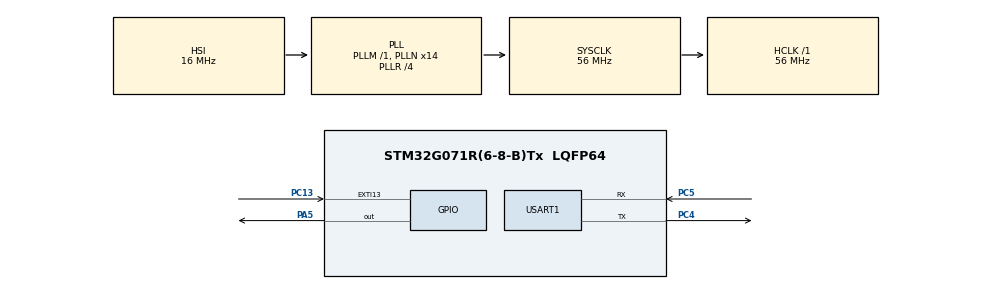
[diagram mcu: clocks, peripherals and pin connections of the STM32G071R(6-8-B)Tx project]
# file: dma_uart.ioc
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Dma.Request0=USART1_RX
Dma.Request1=USART1_TX
Dma.USART1_RX.0.Direction=DMA_PERIPH_TO_MEMORY
Dma.USART1_RX.0.EventEnable=DISABLE
Dma.USART1_RX.0.Instance=DMA1_Channel1
Dma.USART1_RX.0.MemDataAlignment=DMA_MDATAALIGN_BYTE
Dma.USART1_RX.0.MemInc=DMA_MINC_ENABLE
Dma.USART1_RX.0.Mode=DMA_NORMAL
Dma.USART1_RX.0.PeriphDataAlignment=DMA_PDATAALIGN_BYTE
Dma.USART1_RX.0.PeriphInc=DMA_PINC_DISABLE
Dma.USART1_RX.0.Polarity=HAL_DMAMUX_REQ_GEN_RISING
Dma.USART1_RX.0.Priority=DMA_PRIORITY_HIGH
Dma.USART1_RX.0.RequestNumber=1
Dma.USART1_RX.0.SignalID=NONE
Dma.USART1_RX.0.SyncEnable=DISABLE
Dma.USART1_RX.0.SyncPolarity=HAL_DMAMUX_SYNC_NO_EVENT
Dma.USART1_RX.0.SyncRequestNumber=1
Dma.USART1_RX.0.SyncSignalID=NONE
Dma.USART1_TX.1.Direction=DMA_MEMORY_TO_PERIPH
Dma.USART1_TX.1.EventEnable=DISABLE
Dma.USART1_TX.1.Instance=DMA1_Channel2
Dma.USART1_TX.1.MemDataAlignment=DMA_MDATAALIGN_BYTE
Dma.USART1_TX.1.MemInc=DMA_MINC_ENABLE
Dma.USART1_TX.1.Mode=DMA_NORMAL
Dma.USART1_TX.1.PeriphDataAlignment=DMA_PDATAALIGN_BYTE
Dma.USART1_TX.1.PeriphInc=DMA_PINC_DISABLE
Dma.USART1_TX.1.Polarity=HAL_DMAMUX_REQ_GEN_RISING
Dma.USART1_TX.1.Priority=DMA_PRIORITY_LOW
Dma.USART1_TX.1.RequestNumber=1
Dma.USART1_TX.1.SignalID=NONE
Dma.USART1_TX.1.SyncEnable=DISABLE
Dma.USART1_TX.1.SyncPolarity=HAL_DMAMUX_SYNC_NO_EVENT
Dma.USART1_TX.1.SyncRequestNumber=1
Dma.USART1_TX.1.SyncSignalID=NONE
Mcu.Family=STM32G0
Mcu.Name=STM32G071R(6-8-B)Tx
Mcu.Package=LQFP64
NVIC.DMA1_Channel1_IRQn=true\:0\:0\:false\:false\:true\:false\:true
NVIC.DMA1_Channel2_3_IRQn=true\:0\:0\:false\:false\:true\:false\:true
NVIC.EXTI4_15_IRQn=true\:1\:0\:true\:false\:true\:true\:true
NVIC.USART1_IRQn=true\:0\:0\:false\:false\:true\:true\:true
PA5.Signal=GPIO_Output
PC13.Signal=GPXTI13
PC4.Mode=Asynchronous
PC4.Signal=USART1_TX
PC5.Mode=Asynchronous
PC5.Signal=USART1_RX
ProjectManager.HeapSize=0x200
ProjectManager.StackSize=0x400
ProjectManager.TargetToolchain=MDK-ARM V5.27
RCC.ADCFreq_Value=56000000
RCC.AHBFreq_Value=56000000
RCC.CortexFreq_Value=56000000
RCC.EXTERNAL_CLOCK_VALUE=48000
RCC.HCLKFreq_Value=56000000
RCC.HSE_VALUE=8000000
RCC.HSI_VALUE=16000000
RCC.LSE_VALUE=32768
RCC.PLLN=14
RCC.PLLR=RCC_PLLR_DIV4
RCC.SYSCLKFreq_VALUE=56000000
RCC.SYSCLKSource=RCC_SYSCLKSOURCE_PLLCLK
RCC.VCOOutputFreq_Value=224000000
USART1.VirtualMode-Asynchronous=VM_ASYNC
VP_SYS_VS_DBSignals.Mode=DisableDeadBatterySignals
board=custom

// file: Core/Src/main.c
/* USER CODE BEGIN Header */
/**
  ******************************************************************************
  * @file           : main.c
  * @brief          : Main program body
  ******************************************************************************
  * @attention
  *
  * <h2><center>&copy; Copyright (c) 2021 STMicroelectronics.
  * All rights reserved.</center></h2>
  *
  * This software component is licensed by ST under BSD 3-Clause license,
  * the "License"; You may not use this file except in compliance with the
  * License. You may obtain a copy of the License at:
  *                        opensource.org/licenses/BSD-3-Clause
  *
  ******************************************************************************
  */
/* USER CODE END Header */
#include "main.h"
/*#define Transmitter_Board*/

/* USER CODE BEGIN PTD */
/*#define Transmitter_Board*/
/* USER CODE END PTD */

UART_HandleTypeDef huart1;
DMA_HandleTypeDef hdma_usart1_rx;
DMA_HandleTypeDef hdma_usart1_tx;

ITStatus uartready=RESET;

uint8_t TxMessage[3]={1,2,3};
uint8_t RxMessage[3];
uint8_t i=0;

void SystemClock_Config(void);
static void MX_GPIO_Init(void);
static void MX_DMA_Init(void);
static void MX_USART1_UART_Init(void);

int main(void)
{

  /* MCU Configuration--------------------------------------------------------*/

  /* Reset of all peripherals, Initializes the Flash interface and the Systick. */
  HAL_Init();

  /* Configure the system clock */
  SystemClock_Config();

  /* Initialize all configured peripherals */
  MX_GPIO_Init();
  MX_DMA_Init();
  MX_USART1_UART_Init();
  /* USER CODE BEGIN 2 */

#ifdef Transmitter_Board

	while(HAL_GPIO_ReadPin(GPIOC,GPIO_PIN_13)==1 || i==1){

		HAL_GPIO_WritePin(GPIOA,GPIO_PIN_5,GPIO_PIN_SET);

	i=0;

	}
	HAL_GPIO_WritePin(GPIOA,GPIO_PIN_5,GPIO_PIN_RESET);

	if(HAL_UART_Receive_DMA(&huart1,(uint8_t *)RxMessage,4)!=HAL_OK){

	Error_Handler();

	}

	if(HAL_UART_Transmit_DMA(&huart1,(uint8_t *)TxMessage,4)!=HAL_OK)
	{
	Error_Handler();

	}

	while(uartready!=SET)
	{

	}

	uartready=RESET;

#else
if(HAL_UART_Receive_DMA(&huart1,(uint8_t *)RxMessage,4)!=HAL_OK){

	Error_Handler();

	}

	uartready=RESET;
	HAL_GPIO_WritePin(GPIOA,GPIO_PIN_5,GPIO_PIN_RESET);
if(HAL_UART_Transmit_DMA(&huart1,(uint8_t *)TxMessage,4)!=HAL_OK)
	{
	Error_Handler();

	}

#endif
/* USER CODE END 2 */
while(uartready!=SET){

	}
	uartready=RESET;

		HAL_GPIO_WritePin(GPIOA,GPIO_PIN_5,GPIO_PIN_SET);
		HAL_Delay(200);
	HAL_GPIO_WritePin(GPIOA,GPIO_PIN_5,GPIO_PIN_RESET);
		HAL_Delay(200);
  /* Infinite loop */
  while (1)
  {

  }
}

void SystemClock_Config(void)
{
  RCC_OscInitTypeDef RCC_OscInitStruct = {0};
  RCC_ClkInitTypeDef RCC_ClkInitStruct = {0};
  RCC_PeriphCLKInitTypeDef PeriphClkInit = {0};

  /** Configure the main internal regulator output voltage
  */
  HAL_PWREx_ControlVoltageScaling(PWR_REGULATOR_VOLTAGE_SCALE1);
  /** Initializes the RCC Oscillators according to the specified parameters
  * in the RCC_OscInitTypeDef structure.
  */
  RCC_OscInitStruct.OscillatorType = RCC_OSCILLATORTYPE_HSI;
  RCC_OscInitStruct.HSIState = RCC_HSI_ON;
  RCC_OscInitStruct.HSIDiv = RCC_HSI_DIV1;
  RCC_OscInitStruct.HSICalibrationValue = RCC_HSICALIBRATION_DEFAULT;
  RCC_OscInitStruct.PLL.PLLState = RCC_PLL_ON;
  RCC_OscInitStruct.PLL.PLLSource = RCC_PLLSOURCE_HSI;
  RCC_OscInitStruct.PLL.PLLM = RCC_PLLM_DIV1;
  RCC_OscInitStruct.PLL.PLLN = 14;
  RCC_OscInitStruct.PLL.PLLP = RCC_PLLP_DIV2;
  RCC_OscInitStruct.PLL.PLLQ = RCC_PLLQ_DIV2;
  RCC_OscInitStruct.PLL.PLLR = RCC_PLLR_DIV4;
  if (HAL_RCC_OscConfig(&RCC_OscInitStruct) != HAL_OK)
  {
    Error_Handler();
  }
  /** Initializes the CPU, AHB and APB buses clocks
  */
  RCC_ClkInitStruct.ClockType = RCC_CLOCKTYPE_HCLK|RCC_CLOCKTYPE_SYSCLK
                              |RCC_CLOCKTYPE_PCLK1;
  RCC_ClkInitStruct.SYSCLKSource = RCC_SYSCLKSOURCE_PLLCLK;
  RCC_ClkInitStruct.AHBCLKDivider = RCC_SYSCLK_DIV1;
  RCC_ClkInitStruct.APB1CLKDivider = RCC_HCLK_DIV1;

  if (HAL_RCC_ClockConfig(&RCC_ClkInitStruct, FLASH_LATENCY_2) != HAL_OK)
  {
    Error_Handler();
  }
  /** Initializes the peripherals clocks
  */
  PeriphClkInit.PeriphClockSelection = RCC_PERIPHCLK_USART1;
  PeriphClkInit.Usart1ClockSelection = RCC_USART1CLKSOURCE_PCLK1;
  if (HAL_RCCEx_PeriphCLKConfig(&PeriphClkInit) != HAL_OK)
  {
    Error_Handler();
  }
}

static void MX_USART1_UART_Init(void)
{

  huart1.Instance = USART1;
  huart1.Init.BaudRate = 115200;
  huart1.Init.WordLength =UART_WORDLENGTH_8B;
  huart1.Init.StopBits = UART_STOPBITS_1;
  huart1.Init.Parity = UART_PARITY_NONE;
  huart1.Init.Mode = UART_MODE_TX_RX;
  huart1.Init.HwFlowCtl = UART_HWCONTROL_NONE;
  huart1.Init.OverSampling = UART_OVERSAMPLING_16;
  huart1.Init.OneBitSampling = UART_ONE_BIT_SAMPLE_DISABLE;
  huart1.Init.ClockPrescaler = UART_PRESCALER_DIV1;
  huart1.AdvancedInit.AdvFeatureInit = UART_ADVFEATURE_NO_INIT;
  if (HAL_UART_Init(&huart1) != HAL_OK)
  {
    Error_Handler();
  }
  if (HAL_UARTEx_SetTxFifoThreshold(&huart1, UART_TXFIFO_THRESHOLD_1_8) != HAL_OK)
  {
    Error_Handler();
  }
  if (HAL_UARTEx_SetRxFifoThreshold(&huart1, UART_RXFIFO_THRESHOLD_1_8) != HAL_OK)
  {
    Error_Handler();
  }
  if (HAL_UARTEx_DisableFifoMode(&huart1) != HAL_OK)
  {
    Error_Handler();
  }

}

static void MX_DMA_Init(void)
{

  /* DMA controller clock enable */
  __HAL_RCC_DMA1_CLK_ENABLE();

  /* DMA interrupt init */
  /* DMA1_Channel1_IRQn interrupt configuration */
  HAL_NVIC_SetPriority(DMA1_Channel1_IRQn, 0, 0);
  HAL_NVIC_EnableIRQ(DMA1_Channel1_IRQn);
  /* DMA1_Channel2_3_IRQn interrupt configuration */
  HAL_NVIC_SetPriority(DMA1_Channel2_3_IRQn, 0, 0);
  HAL_NVIC_EnableIRQ(DMA1_Channel2_3_IRQn);

}

static void MX_GPIO_Init(void)
{
  GPIO_InitTypeDef GPIO_InitStruct = {0};

  /* GPIO Ports Clock Enable */
  __HAL_RCC_GPIOC_CLK_ENABLE();
  __HAL_RCC_GPIOA_CLK_ENABLE();

  /*Configure GPIO pin Output Level */
  HAL_GPIO_WritePin(GPIOA, GPIO_PIN_5, GPIO_PIN_RESET);

  /*Configure GPIO pin : PC13 */
  GPIO_InitStruct.Pin = GPIO_PIN_13;
  GPIO_InitStruct.Mode = GPIO_MODE_IT_RISING;
  GPIO_InitStruct.Pull = GPIO_NOPULL;
  HAL_GPIO_Init(GPIOC, &GPIO_InitStruct);

  /*Configure GPIO pin : PA5 */
  GPIO_InitStruct.Pin = GPIO_PIN_5;
  GPIO_InitStruct.Mode = GPIO_MODE_OUTPUT_PP;
  GPIO_InitStruct.Pull = GPIO_NOPULL;
  GPIO_InitStruct.Speed = GPIO_SPEED_FREQ_LOW;
  HAL_GPIO_Init(GPIOA, &GPIO_InitStruct);

  /* EXTI interrupt init*/
  HAL_NVIC_SetPriority(EXTI4_15_IRQn, 1, 0);
  HAL_NVIC_EnableIRQ(EXTI4_15_IRQn);

}

/* USER CODE BEGIN 4 */
void HAL_UART_RxCpltCallBack(UART_HandleTypeDef *huart){

	uartready=SET;

}

void HAL_UART_TxCpltCallBack(UART_HandleTypeDef *huart){

	uartready=SET;

}
/* USER CODE END 4 */

void Error_Handler(void)
{
  __disable_irq();
  while (1)
  {
  }
}

/************************ (C) COPYRIGHT STMicroelectronics *****END OF FILE****/
